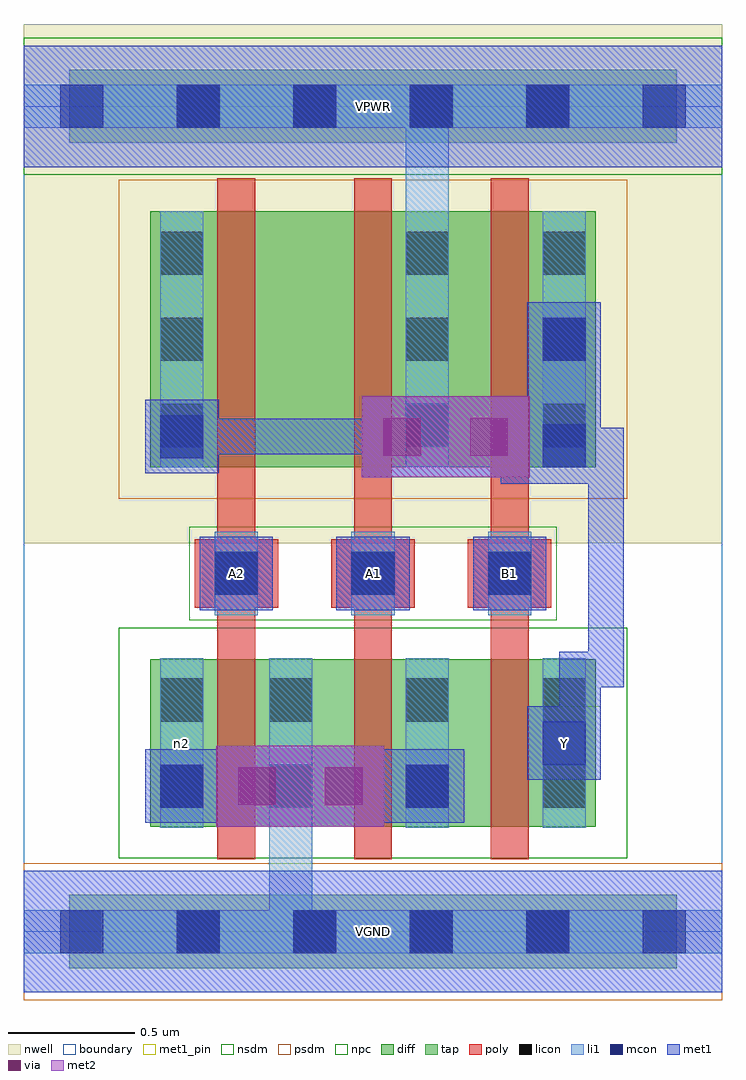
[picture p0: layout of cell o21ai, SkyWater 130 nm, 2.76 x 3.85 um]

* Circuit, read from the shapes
.subckt o21ai A1 A2 B1 VGND VPWR Y n2
XM1 VGND A2 n2 VGND sky130_fd_pr__nfet_01v8 w=0.66 l=0.15
XM2 n2 A1 VGND VGND sky130_fd_pr__nfet_01v8 w=0.66 l=0.15
XM3 Y B1 n2 VGND sky130_fd_pr__nfet_01v8 w=0.66 l=0.15
XM4 n1 A2 Y VPWR sky130_fd_pr__pfet_01v8 w=1.01 l=0.15
XM5 VPWR A1 n1 VPWR sky130_fd_pr__pfet_01v8 w=1.01 l=0.15
XM6 Y B1 VPWR VPWR sky130_fd_pr__pfet_01v8 w=1.01 l=0.15
.ends

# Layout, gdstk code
import gdstk
lib = gdstk.Library(unit=1e-6, precision=1e-09)
def R(c, l, rs):  # rectangles x0, y0, x1, y1
    for r in rs: c.add(gdstk.rectangle(r[:2], r[2:], *l))
def A(c, l, x, y, w, h, nx, ny, dx, dy):  # array of equal rectangles
    R(c, l, [(x+i*dx, y+j*dy, x+i*dx+w, y+j*dy+h) for i in range(nx) for j in range(ny)])
nwell = (64, 20)
diff = (65, 20)
tap = (65, 44)
poly = (66, 20)
licon = (66, 44)
li1 = (67, 20)
mcon = (67, 44)
met1_pin = (68, 16)
met1 = (68, 20)
via = (68, 44)
met2 = (69, 20)
nsdm = (93, 44)
psdm = (94, 20)
npc = (95, 20)
boundary = (235, 4)

o21ai = lib.new_cell('o21ai')
R(o21ai, nwell, [(0,1.535,2.76,3.585)])
R(o21ai, diff, [(0.5,0.415,2.26,1.075), (0.5,1.835,2.26,2.845)])
R(o21ai, tap, [(0.18,-0.145,2.58,0.145), (0.18,3.115,2.58,3.405)])
A(o21ai, poly, 0.765, 0.285, 0.15, 2.69, 3, 1, 0.54, 0)
A(o21ai, poly, 0.675, 1.28, 0.33, 0.27, 3, 1, 0.54, 0)
A(o21ai, licon, 0.605, -0.085, 0.17, 0.17, 4, 2, 0.46, 3.26)
A(o21ai, licon, 0.97, 0.49, 0.17, 0.17, 3, 2, 0.54, 0.34)
A(o21ai, licon, 0.755, 1.33, 0.17, 0.17, 3, 1, 0.54, 0)
A(o21ai, licon, 0.54, 1.915, 0.17, 0.17, 1, 3, 0, 0.34)
A(o21ai, licon, 1.51, 1.915, 0.17, 0.17, 1, 3, 0, 0.34)
A(o21ai, licon, 2.05, 1.915, 0.17, 0.17, 1, 3, 0, 0.34)
R(o21ai, licon, [(0.54,0.49,0.71,0.66), (0.54,0.83,0.71,1)])
A(o21ai, li1, 0.97, 0.41, 0.17, 0.67, 3, 1, 0.54, 0)
A(o21ai, li1, 0.755, 1.25, 0.17, 0.33, 3, 1, 0.54, 0)
R(o21ai, li1, [(0,-0.085,2.76,0.085), (0.97,-0.085,1.14,1.08), (0.54,0.41,0.71,1.08), (0.54,1.835,0.71,2.845), (1.51,1.835,1.68,2.845), (1.51,1.835,1.68,3.345), (2.05,1.835,2.22,2.845), (0,3.175,2.76,3.345)])
A(o21ai, mcon, 0.145, -0.085, 0.17, 0.17, 6, 2, 0.46, 3.26)
A(o21ai, mcon, 0.755, 1.33, 0.17, 0.17, 3, 1, 0.54, 0)
R(o21ai, mcon, [(0.54,0.49,0.71,0.66), (1.51,0.49,1.68,0.66), (2.05,0.66,2.22,0.83), (2.05,1.835,2.22,2.005), (0.54,1.87,0.71,2.04), (2.05,2.255,2.22,2.425)])
A(o21ai, met1_pin, 0.695, 1.27, 0.29, 0.29, 3, 1, 0.54, 0)
R(o21ai, met1_pin, [(0,-0.24,2.76,0.24), (1.99,0.6,2.28,0.89), (0,3.02,2.76,3.5)])
A(o21ai, met1, 0.695, 1.27, 0.29, 0.29, 3, 1, 0.54, 0)
R(o21ai, met1, [(0,-0.24,2.76,0.24), (0.76,0.415,1.08,0.735), (1.08,0.415,1.105,0.735), (1.105,0.415,1.425,0.735), (0.48,0.43,0.77,0.72), (1.425,0.43,1.45,0.72), (1.45,0.43,1.74,0.72), (0.555,0.505,0.875,0.645), (0.735,0.505,0.99,0.645), (0.99,0.505,1.105,0.645), (1.08,0.505,1.195,0.645), (1.195,0.505,1.565,0.645), (1.425,0.505,1.665,0.645), (1.99,0.6,2.28,0.89), (2.115,0.735,2.255,0.875), (2.115,0.735,2.255,1.105), (2.115,0.89,2.28,0.965), (2.23,0.89,2.28,0.965), (2.115,0.965,2.37,1.105), (2.23,0.965,2.37,1.795), (2.23,1.655,2.37,1.99), (2.23,1.655,2.37,1.91), (1.885,1.77,2.025,2.025), (1.885,1.77,2.37,1.91), (1.99,1.775,2.28,2.065), (1.335,1.795,1.655,2.115), (1.655,1.795,1.68,2.115), (1.68,1.795,2,2.115), (0.48,1.81,0.77,2.1), (2.065,1.85,2.37,1.99), (0.555,1.885,0.875,2.025), (0.735,1.885,1.565,2.025), (1.565,1.885,1.68,2.025), (1.655,1.885,1.77,2.025), (1.77,1.885,2.025,2.025), (1.99,2.065,2.28,2.195), (1.99,2.195,2.28,2.485), (0,3.02,2.76,3.5)])
R(o21ai, via, [(0.845,0.5,0.995,0.65), (1.19,0.5,1.34,0.65), (1.42,1.88,1.57,2.03), (1.765,1.88,1.915,2.03)])
R(o21ai, met2, [(0.76,0.415,1.08,0.735), (1.08,0.415,1.105,0.735), (1.105,0.415,1.425,0.735), (0.85,0.505,1.335,0.645), (1.335,1.795,1.655,2.115), (1.655,1.795,1.68,2.115), (1.68,1.795,2,2.115), (1.425,1.885,1.91,2.025)])
R(o21ai, nsdm, [(0.375,0.29,2.385,1.2), (0,2.99,2.76,3.53)])
R(o21ai, psdm, [(0,-0.27,2.76,0.27), (0.375,1.71,2.385,2.97)])
R(o21ai, npc, [(0.655,1.23,2.105,1.6)])
R(o21ai, boundary, [(0,0,2.76,3.26)])
o21ai.add(gdstk.Label('n2', (0.625,0.745), layer=67, texttype=5))
o21ai.add(gdstk.Label('A1', (1.38,1.415), layer=68, texttype=5))
o21ai.add(gdstk.Label('A2', (0.84,1.415), layer=68, texttype=5))
o21ai.add(gdstk.Label('B1', (1.92,1.415), layer=68, texttype=5))
o21ai.add(gdstk.Label('Y', (2.135,0.745), layer=68, texttype=5))
o21ai.add(gdstk.Label('VPWR', (1.38,3.26), layer=68, texttype=5))
o21ai.add(gdstk.Label('VGND', (1.38,0), layer=68, texttype=5))
o21ai.add(gdstk.Label('A1', (1.38,1.415), layer=68, texttype=16))
o21ai.add(gdstk.Label('A2', (0.84,1.415), layer=68, texttype=16))
o21ai.add(gdstk.Label('B1', (1.92,1.415), layer=68, texttype=16))
o21ai.add(gdstk.Label('Y', (2.135,0.745), layer=68, texttype=16))
o21ai.add(gdstk.Label('VPWR', (1.38,3.26), layer=68, texttype=16))
o21ai.add(gdstk.Label('VGND', (1.38,0), layer=68, texttype=16))

lib.write_gds('o21ai.gds')
